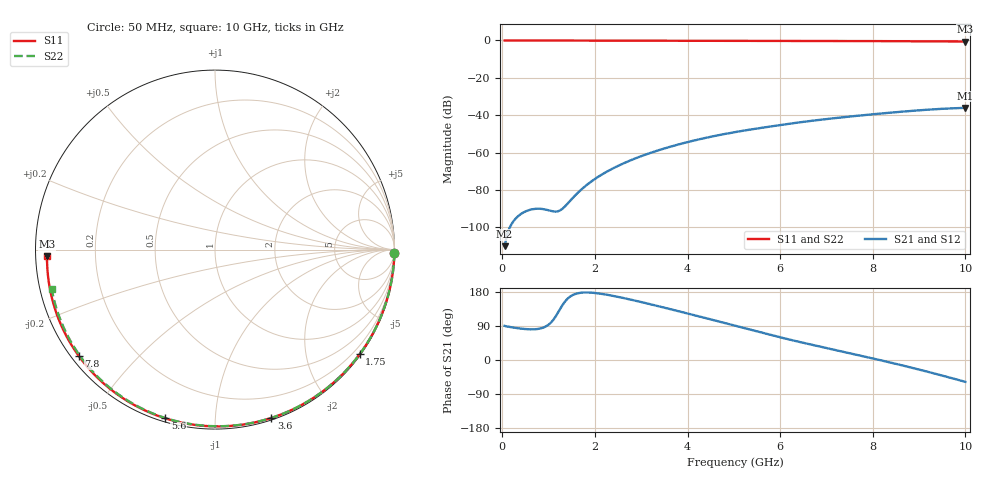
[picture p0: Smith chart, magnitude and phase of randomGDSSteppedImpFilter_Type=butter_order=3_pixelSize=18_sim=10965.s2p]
! freq	dB(S11)	phase(S11)	dB(S12)	phase(S12)
!  dB(S21)	phase(S21)	dB(S22)	phase(S22)
!S-par simulation data
#  GHz  S  DB  R 50
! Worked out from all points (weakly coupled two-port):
!   200 points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, 50 MHz to 10 GHz, reference 50 ohm
!   highest |S21| = -36.06 dB at 10 GHz (marker M1); lowest = -110.1 dB at 50 MHz (marker M2)
!   lowest |S11| = -0.6 dB at 10 GHz (marker M3), VSWR 30.68, Z = 1.63 - j1.02 ohm
!   |S11| at or under -10 dB: nowhere
!   |S22| runs from -0.6 to 0.0 dB; largest |S21 - S12| = 0
!   S11 on the Smith chart (normalised r, x): 50 MHz: open; 1.75 GHz: 0.03, -3.08; 3.6 GHz: 0.02, -1.39; 5.6 GHz: 0.02, -0.75; 7.8 GHz: 0.02, -0.34; 10 GHz: 0.03, -0.02
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0.05  -0.00 -1.1  -110.06 90.1  -110.06 90.1  -0.00 -1.0
0.8  -0.02 -16.6  -90.03 82.6  -90.03 82.6  -0.02 -14.9
1.2  -0.03 -24.8  -91.40 124.4  -91.40 124.4  -0.03 -22.3
1.65  -0.04 -33.9  -81.04 176.6  -81.04 176.6  -0.04 -30.5
1.7  -0.04 -34.9  -79.90 177.5  -79.90 177.5  -0.04 -31.4
1.75  -0.05 -35.9  -78.81 178.0  -78.81 178.0  -0.04 -32.3
1.9  -0.05 -38.9  -75.86 177.9  -75.86 177.9  -0.04 -35.0
2.05  -0.05 -41.9  -73.28 176.1  -73.28 176.1  -0.05 -37.7
2.25  -0.06 -45.8  -70.30 172.4  -70.30 172.4  -0.05 -41.3
2.45  -0.06 -49.7  -67.70 167.8  -67.70 167.8  -0.06 -44.9
2.9  -0.08 -58.4  -62.84 155.8  -62.84 155.8  -0.07 -52.8
3.4  -0.09 -67.8  -58.54 141.1  -58.54 141.1  -0.08 -61.4
3.6  -0.10 -71.5  -57.05 135.1  -57.05 135.1  -0.09 -64.8
4.3  -0.12 -84.1  -52.62 113.4  -52.62 113.4  -0.11 -76.5
5.05  -0.15 -97.1  -48.94 89.9  -48.94 89.9  -0.14 -88.7
5.6  -0.17 -106.4  -46.74 72.5  -46.74 72.5  -0.16 -97.4
6.15  -0.21 -115.5  -44.74 55.4  -44.74 55.4  -0.19 -106.0
6.7  -0.24 -124.4  -42.93 39.8  -42.93 39.8  -0.22 -114.5
7.8  -0.33 -142.0  -39.97 9.7  -39.97 9.7  -0.31 -131.4
8.35  -0.38 -150.7  -38.70 -5.8  -38.70 -5.8  -0.36 -139.9
9.2  -0.47 -164.4  -37.02 -31.5  -37.02 -31.5  -0.46 -153.3
10  -0.57 -177.7  -36.06 -57.7  -36.06 -57.7  -0.57 -166.3
